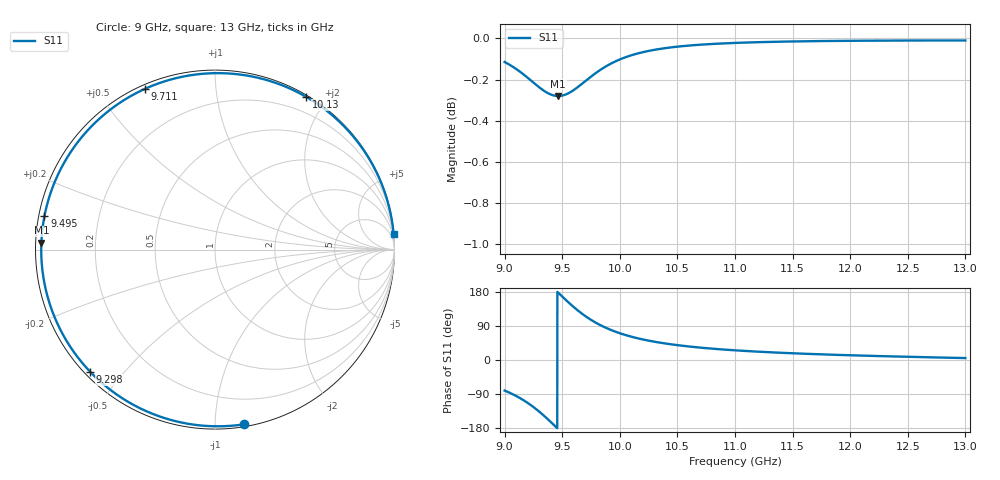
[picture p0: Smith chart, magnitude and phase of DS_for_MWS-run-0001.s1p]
! TOUCHSTONE file generated by CST DESIGN STUDIO
! Date and time: Tue Feb  4 12:34:19 2025
! Project name: C:\Work\MatlabApps\UnitCellOptimizationMatlab\CST\unitcell.cst
! Tree item: Tasks\Sweep1\SPara1\S-Parameters
! Header version: 2024
! Port assignment regex: !\s*Touchstone port\s*([0-9]+)\s*=\s*(CST MWS port|CST DES external port|CST DES block port)\s*(.+)\s* \(\"(.*)\"\)(\s*mode\s*([0-9]+))?.*
! Touchstone port assignment:
! Touchstone port 1 = CST DES external port 1 ("")
# GHz S MA R 50
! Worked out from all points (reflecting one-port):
!   4001 points, 9 GHz to 13 GHz, reference 50 ohm
!   lowest |S11| = -0.3 dB at 9.465 GHz (marker M1), VSWR 61.98, Z = 0.807 + j1.01 ohm
!   phase of S11 starts at -81 deg and turns -274 deg over the sweep
!   S11 on the Smith chart (normalised r, x): 9 GHz: 0.02, -1.18; 9.298 GHz: 0.02, -0.41; 9.495 GHz: 0.02, +0.10; 9.711 GHz: 0.02, +0.65; 10.13 GHz: 0.02, +1.76; 13 GHz: 0, +22
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9  0.9869 -80.6
9.072  0.9842 -90.5
9.168  0.9798 -106.8
9.235  0.9764 -120.7
9.298  0.9731 -135.6
9.342  0.9711 -147.1
9.388  0.9694 -159.9
9.427  0.9685 -171.2
9.465  0.9682 177.7
9.495  0.9684 168.9
9.5  0.9685 167.5
9.55  0.9696 153.2
9.608  0.9718 137.7
9.659  0.9743 125.2
9.711  0.9769 113.7
9.768  0.9797 102.6
9.832  0.9826 91.9
9.914  0.9857 80.4
10  0.9883 70.6
10.131  0.9912 59.1
10.297  0.9936 48.4
10.5  0.9954 39.2
10.723  0.9966 32.0
11  0.9974 25.5
11.5  0.9983 17.7
12  0.9986 12.5
12.5  0.9988 8.5
13  0.9988 5.1
